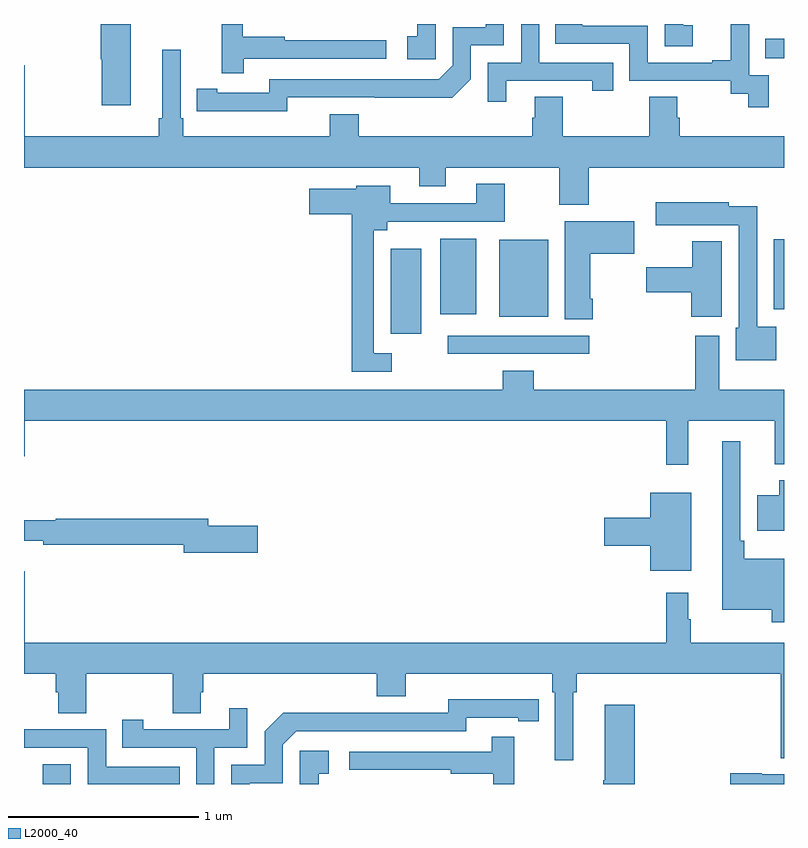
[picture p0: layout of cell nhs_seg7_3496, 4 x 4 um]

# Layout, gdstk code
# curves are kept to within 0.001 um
import gdstk
lib = gdstk.Library(unit=1e-6, precision=1e-09)
def R(c, l, rs):  # rectangles x0, y0, x1, y1
    for r in rs: c.add(gdstk.rectangle(r[:2], r[2:], *l))
def P(c, l, *ps):  # polygons
    for p in ps: c.add(gdstk.Polygon(p, *l))
L2000_40 = (2000, 40)

nhs_seg7_3496 = lib.new_cell('nhs_seg7_3496')
R(nhs_seg7_3496, L2000_40, [(333.099,1036,333.246,1036.105), (335.229,1038.264,335.974,1038.36), (334.931,1038.369,335.092,1038.817), (335.501,1038.458,335.758,1038.865), (335.192,1038.473,335.38,1038.871), (336.947,1038.498,337,1038.868), (336.901,1039.821,337,1039.922)])
P(nhs_seg7_3496, L2000_40, [(336.921,1039.731),(336.816,1039.731),(336.816,1039.961),(336.818,1039.961),(336.818,1040),(336.719,1040),(336.719,1039.81),(336.623,1039.81),(336.623,1039.797),(336.282,1039.797),(336.282,1039.992),(335.937,1039.992),(335.937,1040),(335.797,1040),(335.797,1039.896),(336.186,1039.896),(336.186,1039.701),(336.72,1039.701),(336.72,1039.632),(336.813,1039.632),(336.813,1039.563),(336.921,1039.563)],
  [(335.166,1040),(335.069,1040),(335.069,1039.935),(335.016,1039.935),(335.016,1039.815),(335.166,1039.815)],
  [(333.562,1040),(333.404,1040),(333.404,1039.815),(333.409,1039.815),(333.409,1039.572),(333.562,1039.572)],
  [(334.157,1039.818),(334.906,1039.818),(334.906,1039.914),(334.373,1039.914),(334.373,1039.934),(334.15,1039.934),(334.15,1040),(334.04,1040),(334.04,1039.74),(334.157,1039.74)],
  [(334.386,1039.614),(335.254,1039.613),(335.352,1039.71),(335.352,1039.887),(335.526,1039.887),(335.526,1040),(335.429,1040),(335.429,1039.983),(335.256,1039.983),(335.256,1039.782),(335.184,1039.71),(334.29,1039.71),(334.29,1039.638),(334.018,1039.638),(334.018,1039.658),(333.91,1039.658),(333.91,1039.542),(334.386,1039.541)],
  [(335.539,1039.701),(335.99,1039.701),(335.99,1039.65),(336.101,1039.65),(336.101,1039.797),(335.712,1039.797),(335.712,1040),(335.616,1040),(335.616,1039.797),(335.442,1039.797),(335.442,1039.59),(335.539,1039.59)],
  [(336.52,1039.993),(336.471,1039.993),(336.471,1040),(336.372,1040),(336.372,1039.884),(336.52,1039.884)],
  [(335.973,1039.244),(337,1039.244),(337,1039.408),(336.452,1039.408),(336.452,1039.506),(336.439,1039.506),(336.439,1039.616),(336.292,1039.616),(336.292,1039.408),(335.835,1039.408),(335.835,1039.616),(335.687,1039.616),(335.687,1039.506),(335.675,1039.506),(335.675,1039.408),(334.763,1039.408),(334.763,1039.525),(334.61,1039.525),(334.61,1039.408),(333.839,1039.408),(333.839,1039.504),(333.825,1039.504),(333.825,1039.864),(333.728,1039.864),(333.728,1039.504),(333.709,1039.504),(333.709,1039.408),(333.004,1039.408),(333.004,1039.783),(333,1039.783),(333,1039.244),(335.081,1039.244),(335.081,1039.145),(335.221,1039.145),(335.221,1039.244),(335.818,1039.244),(335.818,1039.05),(335.973,1039.05)],
  [(334.936,1038.267),(334.842,1038.267),(334.842,1038.914),(334.912,1038.914),(334.912,1038.96),(335.529,1038.96),(335.529,1039.159),(335.381,1039.159),(335.381,1039.056),(334.927,1039.056),(334.927,1039.15),(334.749,1039.15),(334.749,1039.132),(334.5,1039.132),(334.5,1038.998),(334.726,1038.998),(334.726,1038.171),(334.936,1038.171)],
  [(336.958,1038.406),(336.858,1038.406),(336.858,1039.04),(336.708,1039.04),(336.708,1039.063),(336.324,1039.063),(336.324,1038.941),(336.551,1038.941),(336.551,1038.942),(336.762,1038.942),(336.762,1038.402),(336.746,1038.402),(336.746,1038.23),(336.958,1038.23)],
  [(335.993,1038.553),(335.98,1038.553),(335.98,1038.791),(336.211,1038.791),(336.211,1038.961),(335.846,1038.961),(335.846,1038.445),(335.993,1038.445)],
  [(336.673,1038.856),(336.517,1038.856),(336.517,1038.721),(336.276,1038.721),(336.276,1038.587),(336.512,1038.587),(336.512,1038.459),(336.673,1038.459)],
  [(333,1037.724),(333.004,1037.724),(333.004,1037.912),(336.379,1037.912),(336.379,1037.679),(336.497,1037.679),(336.497,1037.912),(336.95,1037.912),(336.95,1037.684),(337,1037.684),(337,1038.076),(336.658,1038.076),(336.658,1038.358),(336.533,1038.358),(336.533,1038.076),(335.684,1038.076),(335.684,1038.175),(335.519,1038.175),(335.519,1038.076),(333,1038.076)],
  [(337,1037.185),(336.791,1037.185),(336.791,1037.281),(336.771,1037.281),(336.771,1037.803),(336.674,1037.803),(336.674,1036.916),(336.936,1036.916),(336.936,1036.851),(337,1036.851)],
  [(337,1037.599),(336.974,1037.599),(336.974,1037.521),(336.86,1037.521),(336.86,1037.333),(337,1037.333)],
  [(336.511,1037.533),(336.296,1037.533),(336.296,1037.402),(336.054,1037.402),(336.054,1037.255),(336.296,1037.255),(336.296,1037.123),(336.511,1037.123)],
  [(334.231,1037.36),(333.97,1037.36),(333.97,1037.396),(333.166,1037.396),(333.166,1037.389),(333,1037.389),(333,1037.279),(333.1,1037.279),(333.1,1037.26),(333.842,1037.26),(333.842,1037.218),(334.231,1037.218)],
  [(335.89,1036.484),(335.909,1036.484),(335.909,1036.58),(336.984,1036.58),(336.984,1036.136),(337,1036.136),(337,1036.744),(336.508,1036.744),(336.508,1036.868),(336.496,1036.868),(336.496,1037.007),(336.379,1037.007),(336.379,1036.744),(333.004,1036.744),(333.004,1037.119),(333,1037.119),(333,1036.58),(333.167,1036.58),(333.167,1036.482),(333.179,1036.482),(333.179,1036.372),(333.327,1036.372),(333.327,1036.58),(333.784,1036.58),(333.784,1036.372),(333.931,1036.372),(333.931,1036.482),(333.944,1036.482),(333.944,1036.58),(334.856,1036.58),(334.856,1036.463),(335.008,1036.463),(335.008,1036.58),(335.78,1036.58),(335.78,1036.484),(335.793,1036.484),(335.793,1036.125),(335.89,1036.125)],
  [(334.189,1036.005),(334.362,1036.005),(334.362,1036.206),(334.434,1036.278),(335.328,1036.278),(335.328,1036.35),(335.6,1036.35),(335.6,1036.33),(335.708,1036.33),(335.708,1036.446),(335.232,1036.447),(335.232,1036.374),(334.772,1036.374),(334.772,1036.376),(334.364,1036.376),(334.266,1036.278),(334.266,1036.101),(334.092,1036.101),(334.092,1036),(334.189,1036)],
  [(336.215,1036.417),(336.056,1036.417),(336.056,1036.021),(336.049,1036.021),(336.049,1036),(336.215,1036)],
  [(334.002,1036.191),(334.176,1036.191),(334.176,1036.399),(334.079,1036.399),(334.079,1036.287),(333.628,1036.287),(333.628,1036.339),(333.517,1036.339),(333.517,1036.191),(333.906,1036.191),(333.906,1036),(334.002,1036)],
  [(333.821,1036.092),(333.432,1036.092),(333.432,1036.287),(333,1036.287),(333,1036.191),(333.336,1036.191),(333.336,1036),(333.821,1036)],
  [(335.579,1036.249),(335.461,1036.249),(335.461,1036.17),(334.713,1036.17),(334.713,1036.074),(335.245,1036.074),(335.245,1036.054),(335.469,1036.054),(335.469,1036),(335.579,1036)],
  [(334.55,1036.053),(334.603,1036.053),(334.603,1036.174),(334.452,1036.174),(334.452,1036),(334.55,1036)],
  [(337,1036.051),(336.882,1036.051),(336.882,1036.057),(336.716,1036.057),(336.716,1036),(337,1036)])

lib.write_gds('nhs_seg7_3496.gds')
